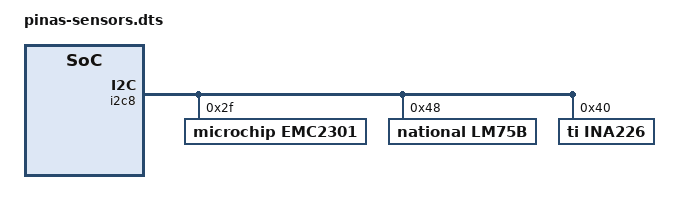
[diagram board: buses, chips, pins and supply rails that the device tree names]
/dts-v1/;
/plugin/;
#include <dt-bindings/thermal/thermal.h>

/ {

	fragment@0 {
		target = <&i2c8>;
		__overlay__ {
			status = "okay";
			pinctrl-0 = <&i2c8m2_xfer>;
			emc2301: emc2301@2f {
				compatible = "microchip,emc2301";
				reg = <0x2f>;
                #address-cells = <1>;
                #size-cells = <0>;
                #cooling-cells = <2>;
                microchip,pwm-separate;
                microchip,cooling-levels = <10>;

                channel@0 {
                    reg = <0>;
                    pwm-min = <0>;
                };
			};
			lm75b: lm75b@48 {
				compatible = "national,lm75b";
				reg = <0x48>;
                #thermal-sensor-cells = <0>;
			};
			ina226@40 {
                compatible = "ti,ina226";
                reg = <0x40>;
                shunt-resistor = <5000>;
            };
		};
	};
	fragment@1 {
		target-path = "/thermal-zones";
		__overlay__ {
			sata_thermal: sata-thermal {
				polling-delay-passive = <1000>;
				polling-delay = <1000>;
				thermal-sensors = <&lm75b>;
				sensor_trips: trips {
					temp_crit: temp-crit {
						temperature = <65000>;
						hysteresis = <0>;
						type = "critical";
					};
					temp_hot: temp-hot {
						temperature = <42000>;
						hysteresis = <3000>;
						type = "active";
					};

					temp_vhot: temp-vhot {
						temperature = <55000>;
						hysteresis = <5000>;
						type = "active";
					};
				};

				cooling_maps: cooling-maps {
					hot {
						trip = <&temp_hot>;
						cooling-device = <&emc2301 3 3>;
					};


					vhot {
						trip = <&temp_vhot>;
						cooling-device = <&emc2301 4 7>;
					};
					melt {
						trip = <&temp_crit>;
						cooling-device = <&emc2301 THERMAL_NO_LIMIT THERMAL_NO_LIMIT>;
					};
				};
			};
		};
	};
};
